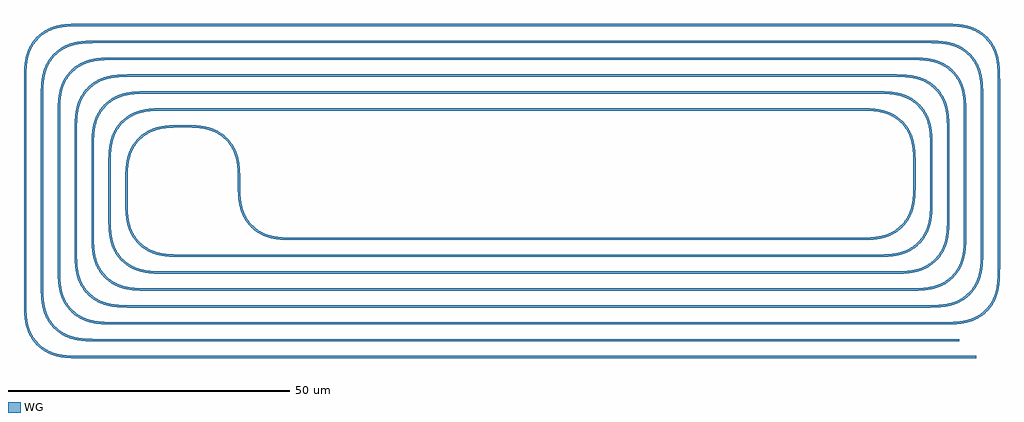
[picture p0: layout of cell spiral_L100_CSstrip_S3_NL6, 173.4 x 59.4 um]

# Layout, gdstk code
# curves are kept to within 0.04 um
from math import pi, radians
import gdstk
lib = gdstk.Library(unit=1e-6, precision=1e-09)
def R(c, l, rs):  # rectangles x0, y0, x1, y1
    for r in rs: c.add(gdstk.rectangle(r[:2], r[2:], *l))
def P(c, l, *ps):  # polygons
    for p in ps: c.add(gdstk.Polygon(p, *l))
WG = (3, 0)

bend_euler_rnone_a90_p0p = lib.new_cell('bend_euler_RNone_A90_P0p5_WNone_CSstrip_AMRVFalse')
P(bend_euler_rnone_a90_p0p, WG, [(0,-0.2),(0,0.2),(1.656,0.219),(2.886,0.304),(3.962,0.472),(4.878,0.715),(5.631,1.011),(6.343,1.392),(7.006,1.853),(7.61,2.39),(8.147,2.994),(8.608,3.657),(8.989,4.369),(9.285,5.122),(9.528,6.038),(9.696,7.114),(9.781,8.344),(9.8,10),(10.2,10),(10.108,7.21),(9.974,6.233),(9.749,5.268),(9.411,4.332),(9.023,3.57),(8.461,2.746),(7.893,2.107),(7.254,1.539),(6.43,0.977),(5.668,0.589),(4.732,0.251),(3.767,0.026),(2.79,-0.108)])

straight_l3_csstrip_wnon = lib.new_cell('straight_L3_CSstrip_WNone_N2')
R(straight_l3_csstrip_wnon, WG, [(0,-0.2,3,0.2)])

straight_l123_csstrip_wn = lib.new_cell('straight_L123_CSstrip_WNone_N2')
R(straight_l123_csstrip_wn, WG, [(0,-0.2,123,0.2)])

straight_l100_csstrip_wn = lib.new_cell('straight_L100_CSstrip_WNone_N2')
R(straight_l100_csstrip_wn, WG, [(0,-0.2,100,0.2)])

straight_l9_csstrip_wnon = lib.new_cell('straight_L9_CSstrip_WNone_N2')
R(straight_l9_csstrip_wnon, WG, [(0,-0.2,9,0.2)])

straight_l129_csstrip_wn = lib.new_cell('straight_L129_CSstrip_WNone_N2')
R(straight_l129_csstrip_wn, WG, [(0,-0.2,129,0.2)])

straight_l15_csstrip_wno = lib.new_cell('straight_L15_CSstrip_WNone_N2')
R(straight_l15_csstrip_wno, WG, [(0,-0.2,15,0.2)])

straight_l135_csstrip_wn = lib.new_cell('straight_L135_CSstrip_WNone_N2')
R(straight_l135_csstrip_wn, WG, [(0,-0.2,135,0.2)])

straight_l21_csstrip_wno = lib.new_cell('straight_L21_CSstrip_WNone_N2')
R(straight_l21_csstrip_wno, WG, [(0,-0.2,21,0.2)])

straight_l141_csstrip_wn = lib.new_cell('straight_L141_CSstrip_WNone_N2')
R(straight_l141_csstrip_wn, WG, [(0,-0.2,141,0.2)])

straight_l27_csstrip_wno = lib.new_cell('straight_L27_CSstrip_WNone_N2')
R(straight_l27_csstrip_wno, WG, [(0,-0.2,27,0.2)])

straight_l147_csstrip_wn = lib.new_cell('straight_L147_CSstrip_WNone_N2')
R(straight_l147_csstrip_wn, WG, [(0,-0.2,147,0.2)])

straight_l33_csstrip_wno = lib.new_cell('straight_L33_CSstrip_WNone_N2')
R(straight_l33_csstrip_wno, WG, [(0,-0.2,33,0.2)])

straight_l153_csstrip_wn = lib.new_cell('straight_L153_CSstrip_WNone_N2')
R(straight_l153_csstrip_wn, WG, [(0,-0.2,153,0.2)])

straight_l39_csstrip_wno = lib.new_cell('straight_L39_CSstrip_WNone_N2')
R(straight_l39_csstrip_wno, WG, [(0,-0.2,39,0.2)])

straight_l159_csstrip_wn = lib.new_cell('straight_L159_CSstrip_WNone_N2')
R(straight_l159_csstrip_wn, WG, [(0,-0.2,159,0.2)])

spiral_l100_csstrip_s3_n = lib.new_cell('spiral_L100_CSstrip_S3_NL6')
spiral_l100_csstrip_s3_n.add(gdstk.Reference(bend_euler_rnone_a90_p0p, (0,0), rotation=pi, x_reflection=True))
spiral_l100_csstrip_s3_n.add(gdstk.Reference(bend_euler_rnone_a90_p0p, (-10,10), rotation=pi/2))
spiral_l100_csstrip_s3_n.add(gdstk.Reference(bend_euler_rnone_a90_p0p, (-20,20), rotation=pi))
spiral_l100_csstrip_s3_n.add(gdstk.Reference(bend_euler_rnone_a90_p0p, (-30,7), rotation=3*pi/2))
spiral_l100_csstrip_s3_n.add(gdstk.Reference(straight_l3_csstrip_wnon, (-30,10), rotation=3*pi/2))
spiral_l100_csstrip_s3_n.add(gdstk.Reference(straight_l123_csstrip_wn, (-20,-3)))
spiral_l100_csstrip_s3_n.add(gdstk.Reference(straight_l100_csstrip_wn, (0,0)))
spiral_l100_csstrip_s3_n.add(gdstk.Reference(bend_euler_rnone_a90_p0p, (100,0)))
spiral_l100_csstrip_s3_n.add(gdstk.Reference(bend_euler_rnone_a90_p0p, (103,-3)))
spiral_l100_csstrip_s3_n.add(gdstk.Reference(bend_euler_rnone_a90_p0p, (110,13), rotation=pi/2))
spiral_l100_csstrip_s3_n.add(gdstk.Reference(bend_euler_rnone_a90_p0p, (113,16), rotation=pi/2))
spiral_l100_csstrip_s3_n.add(gdstk.Reference(bend_euler_rnone_a90_p0p, (-23,23), rotation=pi))
spiral_l100_csstrip_s3_n.add(gdstk.Reference(bend_euler_rnone_a90_p0p, (-26,26), rotation=pi))
spiral_l100_csstrip_s3_n.add(gdstk.Reference(bend_euler_rnone_a90_p0p, (-33,4), rotation=3*pi/2))
spiral_l100_csstrip_s3_n.add(gdstk.Reference(bend_euler_rnone_a90_p0p, (-36,1), rotation=3*pi/2))
spiral_l100_csstrip_s3_n.add(gdstk.Reference(straight_l3_csstrip_wnon, (110,10), rotation=pi/2))
spiral_l100_csstrip_s3_n.add(gdstk.Reference(straight_l9_csstrip_wnon, (113,7), rotation=pi/2))
spiral_l100_csstrip_s3_n.add(gdstk.Reference(straight_l123_csstrip_wn, (100,23), rotation=pi))
spiral_l100_csstrip_s3_n.add(gdstk.Reference(straight_l129_csstrip_wn, (103,26), rotation=pi))
spiral_l100_csstrip_s3_n.add(gdstk.Reference(straight_l9_csstrip_wnon, (-33,13), rotation=3*pi/2))
spiral_l100_csstrip_s3_n.add(gdstk.Reference(straight_l15_csstrip_wno, (-36,16), rotation=3*pi/2))
spiral_l100_csstrip_s3_n.add(gdstk.Reference(straight_l129_csstrip_wn, (-23,-6)))
spiral_l100_csstrip_s3_n.add(gdstk.Reference(straight_l135_csstrip_wn, (-26,-9)))
spiral_l100_csstrip_s3_n.add(gdstk.Reference(bend_euler_rnone_a90_p0p, (106,-6)))
spiral_l100_csstrip_s3_n.add(gdstk.Reference(bend_euler_rnone_a90_p0p, (109,-9)))
spiral_l100_csstrip_s3_n.add(gdstk.Reference(bend_euler_rnone_a90_p0p, (116,19), rotation=pi/2))
spiral_l100_csstrip_s3_n.add(gdstk.Reference(bend_euler_rnone_a90_p0p, (119,22), rotation=pi/2))
spiral_l100_csstrip_s3_n.add(gdstk.Reference(bend_euler_rnone_a90_p0p, (-29,29), rotation=pi))
spiral_l100_csstrip_s3_n.add(gdstk.Reference(bend_euler_rnone_a90_p0p, (-32,32), rotation=pi))
spiral_l100_csstrip_s3_n.add(gdstk.Reference(bend_euler_rnone_a90_p0p, (-39,-2), rotation=3*pi/2))
spiral_l100_csstrip_s3_n.add(gdstk.Reference(bend_euler_rnone_a90_p0p, (-42,-5), rotation=3*pi/2))
spiral_l100_csstrip_s3_n.add(gdstk.Reference(straight_l15_csstrip_wno, (116,4), rotation=pi/2))
spiral_l100_csstrip_s3_n.add(gdstk.Reference(straight_l21_csstrip_wno, (119,1), rotation=pi/2))
spiral_l100_csstrip_s3_n.add(gdstk.Reference(straight_l135_csstrip_wn, (106,29), rotation=pi))
spiral_l100_csstrip_s3_n.add(gdstk.Reference(straight_l141_csstrip_wn, (109,32), rotation=pi))
spiral_l100_csstrip_s3_n.add(gdstk.Reference(straight_l21_csstrip_wno, (-39,19), rotation=3*pi/2))
spiral_l100_csstrip_s3_n.add(gdstk.Reference(straight_l27_csstrip_wno, (-42,22), rotation=3*pi/2))
spiral_l100_csstrip_s3_n.add(gdstk.Reference(straight_l141_csstrip_wn, (-29,-12)))
spiral_l100_csstrip_s3_n.add(gdstk.Reference(straight_l147_csstrip_wn, (-32,-15)))
spiral_l100_csstrip_s3_n.add(gdstk.Reference(bend_euler_rnone_a90_p0p, (112,-12)))
spiral_l100_csstrip_s3_n.add(gdstk.Reference(bend_euler_rnone_a90_p0p, (115,-15)))
spiral_l100_csstrip_s3_n.add(gdstk.Reference(bend_euler_rnone_a90_p0p, (122,25), rotation=pi/2))
spiral_l100_csstrip_s3_n.add(gdstk.Reference(bend_euler_rnone_a90_p0p, (125,28), rotation=pi/2))
spiral_l100_csstrip_s3_n.add(gdstk.Reference(bend_euler_rnone_a90_p0p, (-35,35), rotation=pi))
spiral_l100_csstrip_s3_n.add(gdstk.Reference(bend_euler_rnone_a90_p0p, (-38,38), rotation=pi))
spiral_l100_csstrip_s3_n.add(gdstk.Reference(bend_euler_rnone_a90_p0p, (-45,-8), rotation=3*pi/2))
spiral_l100_csstrip_s3_n.add(gdstk.Reference(bend_euler_rnone_a90_p0p, (-48,-11), rotation=3*pi/2))
spiral_l100_csstrip_s3_n.add(gdstk.Reference(straight_l27_csstrip_wno, (122,-2), rotation=pi/2))
spiral_l100_csstrip_s3_n.add(gdstk.Reference(straight_l33_csstrip_wno, (125,-5), rotation=pi/2))
spiral_l100_csstrip_s3_n.add(gdstk.Reference(straight_l147_csstrip_wn, (112,35), rotation=pi))
spiral_l100_csstrip_s3_n.add(gdstk.Reference(straight_l153_csstrip_wn, (115,38), rotation=pi))
spiral_l100_csstrip_s3_n.add(gdstk.Reference(straight_l33_csstrip_wno, (-45,25), rotation=3*pi/2))
spiral_l100_csstrip_s3_n.add(gdstk.Reference(straight_l39_csstrip_wno, (-48,28), rotation=3*pi/2))
spiral_l100_csstrip_s3_n.add(gdstk.Reference(straight_l153_csstrip_wn, (-35,-18)))
spiral_l100_csstrip_s3_n.add(gdstk.Reference(straight_l159_csstrip_wn, (-38,-21)))

lib.write_gds('spiral_L100_CSstrip_S3_NL6.gds')
